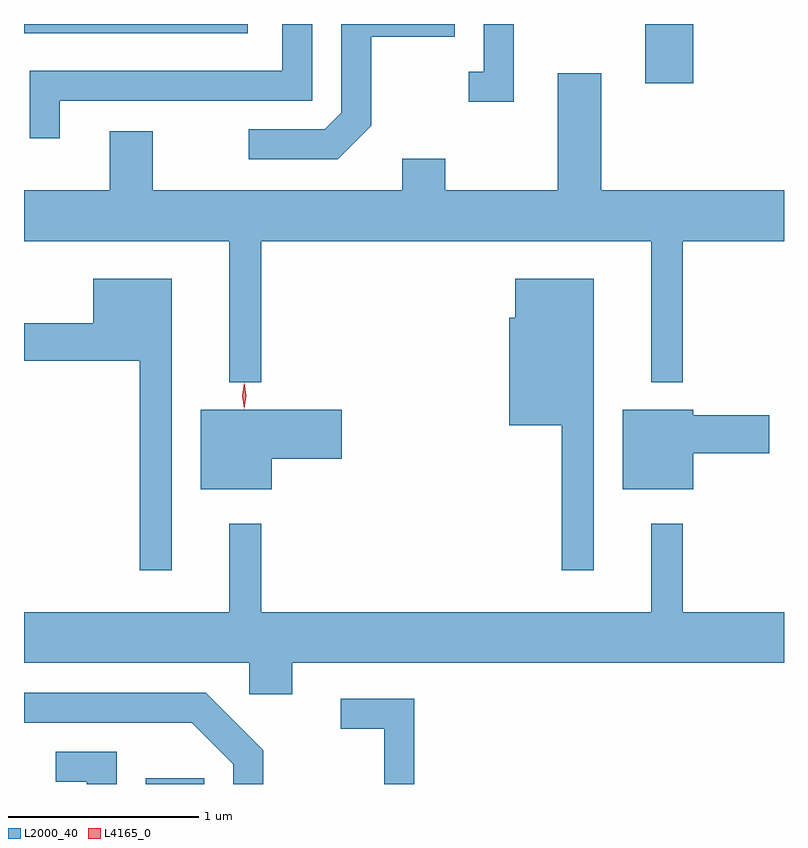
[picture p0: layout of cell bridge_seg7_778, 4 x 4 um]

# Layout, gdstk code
import gdstk
lib = gdstk.Library(unit=1e-6, precision=1e-09)
def R(c, l, rs):  # rectangles x0, y0, x1, y1
    for r in rs: c.add(gdstk.rectangle(r[:2], r[2:], *l))
def P(c, l, *ps):  # polygons
    for p in ps: c.add(gdstk.Polygon(p, *l))
L2000_40 = (2000, 40)
L4165_0 = (4165, 0)

bridge_seg7_778 = lib.new_cell('bridge_seg7_778')
R(bridge_seg7_778, L2000_40, [(343.961,1791.379,344.269,1791.409), (346.591,1795.066,346.844,1795.379), (343.321,1795.331,344.499,1795.379)])
P(bridge_seg7_778, L2000_40, [(345.149,1794.844),(345.149,1795.311),(345.589,1795.311),(345.589,1795.379),(344.991,1795.379),(344.991,1794.912),(344.904,1794.824),(344.503,1794.824),(344.503,1794.666),(344.972,1794.666)],
  [(345.899,1795.379),(345.741,1795.379),(345.741,1795.129),(345.663,1795.129),(345.663,1794.971),(345.899,1794.971)],
  [(343.509,1794.976),(344.839,1794.976),(344.839,1795.379),(344.681,1795.379),(344.681,1795.134),(343.351,1795.134),(343.351,1794.778),(343.509,1794.778)],
  [(344.569,1794.236),(346.621,1794.236),(346.621,1793.493),(346.789,1793.493),(346.789,1794.236),(347.321,1794.236),(347.321,1794.504),(346.359,1794.504),(346.359,1795.119),(346.131,1795.119),(346.131,1794.504),(345.539,1794.504),(345.539,1794.669),(345.311,1794.669),(345.311,1794.504),(343.999,1794.504),(343.999,1794.814),(343.771,1794.814),(343.771,1794.504),(343.321,1794.504),(343.321,1794.236),(344.401,1794.236),(344.401,1793.493),(344.569,1793.493)],
  [(344.099,1794.039),(343.686,1794.039),(343.686,1793.804),(343.321,1793.804),(343.321,1793.606),(343.931,1793.606),(343.931,1792.503),(344.099,1792.503)],
  [(346.319,1794.039),(345.906,1794.039),(345.906,1793.834),(345.876,1793.834),(345.876,1793.266),(346.151,1793.266),(346.151,1792.503),(346.319,1792.503)],
  [(346.844,1793.121),(347.244,1793.121),(347.244,1793.319),(346.844,1793.319),(346.844,1793.349),(346.471,1793.349),(346.471,1792.931),(346.844,1792.931)],
  [(344.624,1793.091),(344.994,1793.091),(344.994,1793.349),(344.251,1793.349),(344.251,1792.931),(344.624,1792.931)],
  [(344.734,1792.016),(347.321,1792.016),(347.321,1792.284),(346.789,1792.284),(346.789,1792.748),(346.621,1792.748),(346.621,1792.284),(344.569,1792.284),(344.569,1792.748),(344.401,1792.748),(344.401,1792.284),(343.321,1792.284),(343.321,1792.016),(344.506,1792.016),(344.506,1791.851),(344.734,1791.851)],
  [(344.579,1791.557),(344.277,1791.859),(343.321,1791.859),(343.321,1791.701),(344.204,1791.701),(344.421,1791.484),(344.421,1791.379),(344.579,1791.379)],
  [(345.374,1791.829),(344.988,1791.829),(344.988,1791.671),(345.216,1791.671),(345.216,1791.379),(345.374,1791.379)],
  [(343.809,1791.549),(343.488,1791.549),(343.488,1791.391),(343.651,1791.391),(343.651,1791.379),(343.809,1791.379)])
P(bridge_seg7_778, L4165_0, [(344.479,1793.36),(344.479,1793.361),(344.47,1793.424),(344.48,1793.486),(344.481,1793.487),(344.481,1793.486),(344.49,1793.424),(344.48,1793.361)],
  [(344.479,1793.354),(344.47,1793.422),(344.48,1793.49),(344.481,1793.49),(344.481,1793.49),(344.49,1793.422),(344.48,1793.354),(344.48,1793.354)])

lib.write_gds('bridge_seg7_778.gds')
